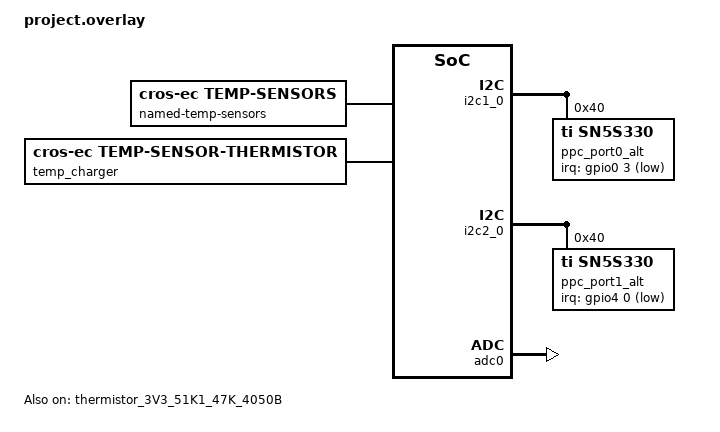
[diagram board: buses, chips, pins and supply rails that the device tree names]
/* Copyright 2022 The ChromiumOS Authors
 * Use of this source code is governed by a BSD-style license that can be
 * found in the LICENSE file.
 */

/* Herobrine program common DTS includes */
#include "../adc.dtsi"
#include "../common.dtsi"
#include "../i2c.dtsi"
#include "../interrupts.dtsi"
#include "../keyboard.dtsi"
#include "../default_gpio_pinctrl.dtsi"
#include "../display.dtsi"
#include "../switchcap.dtsi"
#include "../usbc.dtsi"

/* Evoker project DTS includes*/
#include "gpio.dtsi"
#include "led_pins.dtsi"
#include "led_policy.dtsi"
#include "motionsense.dtsi"
#include <cros/thermistor/thermistor.dtsi>

/* evoker overrides follow... */
/* battery overrides */
/ {
	batteries {
		default_battery: pc_vp_bp153 {
			compatible = "smp,pc-vp-bp153", "battery-smart";
		};
		ap16l5j {
			compatible = "panasonic,ap16l5j", "battery-smart";
		};
	};

};

/* i2c overrides */
&i2c1_0 {
	ppc_port0_alt: sn5s330@40 {
		compatible = "ti,sn5s330";
		status = "okay";
		reg = <0x40>;
		/* a duplicate of the <&gpio_usb_c0_swctl_int_odl> node in
		 * "named-gpios". This is the Zephyr preferred style,
		 * the "named-gpios" node will be dealt with at a later date.
		 */
		irq-gpios = <&gpio0 3 GPIO_ACTIVE_LOW>;
	};
};

&i2c2_0 {
	ppc_port1_alt: sn5s330@40 {
		compatible = "ti,sn5s330";
		status = "okay";
		reg = <0x40>;
		/* a duplicate of the <&gpio_usb_c1_swctl_int_odl> node in
		 * "named-gpios". This is the Zephyr preferred style,
		 * the "named-gpios" node will be dealt with at a later date.
		 */
		irq-gpios = <&gpio4 0 GPIO_ACTIVE_LOW>;
	};
};

/* interrupts overrides */
/ {
	gpio-interrupts {
		/delete-node/ usb_a0_oc;
	};
};

/* adc0 overrides */
&adc0 {
	status = "okay";
	pinctrl-0 = <&adc0_chan1_gp44
		     &adc0_chan2_gp43
		     &adc0_chan3_gp42
		     &adc0_chan4_gp41>;
	pinctrl-names = "default";
};

/* temp sensors */
/ {
	named-adc-channels {
		adc_temp_sensor_1: temp_sensor_1 {
			enum-name = "ADC_TEMP_SENSOR_1";
			io-channels = <&adc0 4>;
		};
	};

	named-temp-sensors {
		compatible = "cros-ec,temp-sensors";
		charger {
			power-good-pin = <&gpio_en_pp5000_s5>;
			sensor = <&temp_charger>;
		};
	};

	temp_charger: charger {
		compatible = "cros-ec,temp-sensor-thermistor";
		thermistor = <&thermistor_3V3_51K1_47K_4050B>;
		adc = <&adc_temp_sensor_1>;
	};
};

&thermistor_3V3_51K1_47K_4050B {
	status = "okay";
};
